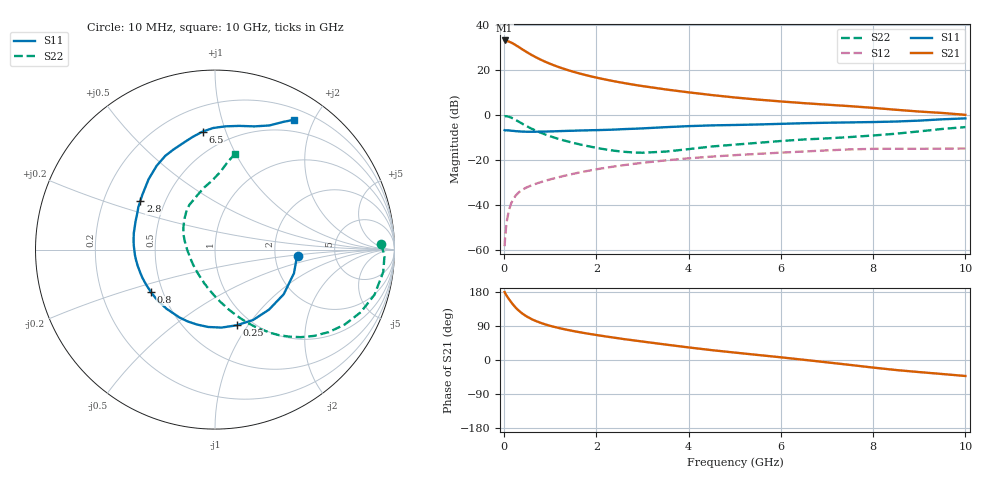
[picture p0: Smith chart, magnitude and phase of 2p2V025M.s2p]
! (c) 2009  Infineon Technologies AG, Munich
! Infineon Technologies  Discrete & RF Semiconductors
! BFP420
! VCE =  2.0 V,  IC =  25 mA
! Common Emitter S-Parameters:  Nov 2009
# GHz  S  MA  R  50
!  f  S11  S21  S12  S22
! GHz  MAG  ANG  MAG  ANG  MAG  ANG  MAG  ANG
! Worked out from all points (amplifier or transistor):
!   46 points, 10 MHz to 10 GHz, reference 50 ohm
!   highest |S21| = 33.3 dB at 10 MHz (marker M1)
!   |S21| within 3 dB of that: start of sweep to 321.5 MHz
!   unconditionally stable (mu >= 1): 1.635 GHz to end of sweep
!   at 300 MHz: K = 0.36, MSG = 32.7 dB, |S12| = -34.8 dB
!   at 1.7 GHz: K = 1.01, MAG = 21.1 dB, |S12| = -25.3 dB
!   at 10 GHz: K = 1.06, MAG = 6.0 dB, |S12| = -14.9 dB
!   lowest NFmin = 1.38 dB at 900 MHz
!   S11 on the Smith chart (normalised r, x): 10 MHz: 2.69, -0.25; 250 MHz: 0.85, -0.89; 800 MHz: 0.43, -0.25; 2.8 GHz: 0.36, +0.26; 6.5 GHz: 0.36, +0.83; 10 GHz: 0.34, +1.73
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0.01  0.4619 -4.6  46.23 179.3  0.0012 111.0  0.9278 1.9
0.02  0.4569 -6.9  45.34 176.3  0.0018 94.0  0.9446 -2.4
0.05  0.4593 -16.6  44.99 170.6  0.0039 84.2  0.9458 -7.5
0.1  0.4566 -33.0  43.81 161.4  0.0074 79.6  0.9235 -15.8
0.15  0.4499 -48.0  41.66 152.9  0.0107 74.2  0.8835 -23.3
0.2  0.4459 -61.6  39.14 145.2  0.0136 69.9  0.8348 -30.0
0.25  0.4386 -74.1  36.36 138.2  0.0161 66.5  0.7834 -35.9
0.3  0.436 -85.2  33.82 132.2  0.0183 63.7  0.7316 -41.1
0.4  0.4295 -103.4  29.05 122.1  0.0219 59.7  0.6379 -49.5
0.5  0.4268 -117.8  25.06 114.2  0.0248 57.4  0.5593 -56.2
0.6  0.426 -129.3  21.84 107.6  0.0274 56.1  0.496 -61.6
0.8  0.4283 -146.3  17.1 97.7  0.0322 55.1  0.4028 -70.2
1  0.434 -158.8  13.91 90.1  0.037 54.8  0.3381 -77.6
1.2  0.4404 -168.4  11.63 84.0  0.0418 54.6  0.2911 -84.4
1.7  0.4562 173.9  8.155 72.0  0.0544 53.0  0.2159 -101.1
2.8  0.4969 146.8  4.786 51.9  0.0818 45.4  0.1474 -146.7
3.5  0.5392 133.3  3.747 40.8  0.098 39.2  0.154 -178.3
5.5  0.6191 106.8  2.222 13.3  0.137 20.7  0.2414 134.8
6.5  0.6612 96.0  1.851 0.5  0.1547 11.5  0.2869 120.0
7  0.6776 90.8  1.711 -6.2  0.164 6.6  0.3033 112.7
8.5  0.7206 72.3  1.317 -26.5  0.1776 -10.5  0.3862 92.2
10  0.8475 58.6  1.015 -42.2  0.1806 -21.7  0.542 78.4
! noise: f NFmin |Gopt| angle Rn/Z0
0.9  1.38  0.22  -154  0.13
1.8  1.65  0.29  -143  0.13
2.4  1.81  0.26  -138  0.17
3  1.83  0.34  -129  0.18
4  1.97  0.45  -112  0.27
5  2.4  0.49  -95  0.44
6  2.85  0.54  -84  0.65
